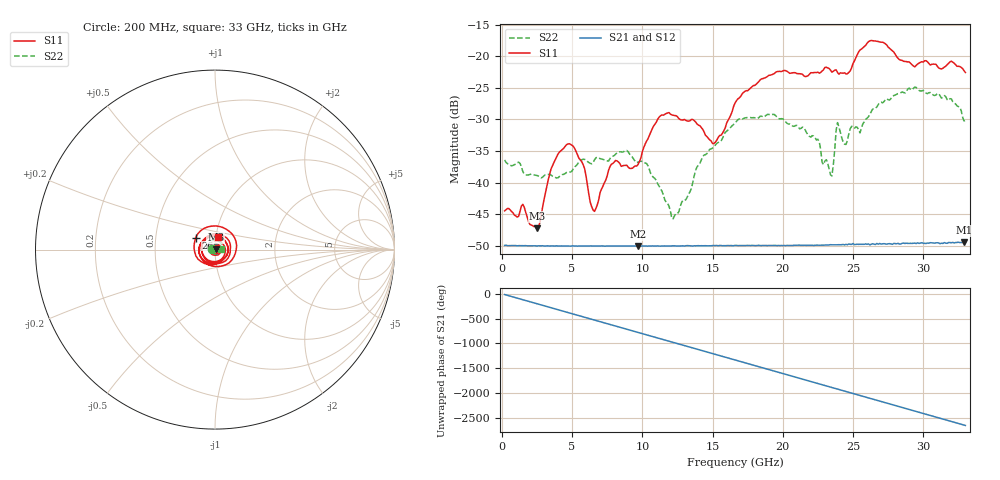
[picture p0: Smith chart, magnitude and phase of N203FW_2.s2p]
# GHZ S RI R 50
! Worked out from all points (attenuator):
!   329 points, 200 MHz to 33 GHz, reference 50 ohm
!   highest |S21| = -49.44 dB at 32.9 GHz (marker M1); lowest = -50.1 dB at 9.7 GHz (marker M2)
!   lowest |S11| = -47.2 dB at 2.5 GHz (marker M3), VSWR 1.01, Z = 50.4 + j0.236 ohm
!   |S11| at or under -10 dB: start of sweep to end of sweep
!   |S22| runs from -45.7 to -24.9 dB; largest |S21 - S12| = 8.8e-05
!   S11 on the Smith chart (normalised r, x): 200 MHz: 1.01, +0.00; 26 GHz: 0.80, +0.11; 33 GHz: 1.03, +0.15
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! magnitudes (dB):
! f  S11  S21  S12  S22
! 200 MHz  -44.5  -50.0  -49.9  -36.4
! 1.5 GHz  -43.5  -50.0  -50.0  -38.3
! 2.5 GHz  -47.2  -50.1  -50.0  -38.9
! 4 GHz  -35.5  -50.0  -50.0  -39.3
! 5.7 GHz  -36.8  -50.1  -50.0  -36.4
! 6.6 GHz  -44.6  -50.1  -50.0  -36.4
! 7.8 GHz  -37.1  -50.1  -50.1  -35.9
! 9.7 GHz  -37.1  -50.1  -50.1  -36.8
! 11.2 GHz  -29.7  -50.1  -50.0  -40.6
! 12.2 GHz  -29.3  -50.0  -50.0  -45.7
! 15.1 GHz  -33.8  -50.0  -50.0  -34.3
! 16.6 GHz  -27.4  -50.0  -50.0  -30.6
! 19.5 GHz  -22.5  -50.0  -49.9  -29.4
! 22.1 GHz  -22.6  -49.9  -49.9  -32.6
! 23.5 GHz  -22.5  -49.9  -49.8  -39.0
! 23.9 GHz  -22.6  -49.9  -49.9  -30.5
! 24.5 GHz  -22.8  -49.8  -49.8  -34.0
! 26 GHz  -17.9  -49.8  -49.7  -29.8
! 27.6 GHz  -18.8  -49.7  -49.7  -27.0
! 31.1 GHz  -21.9  -49.6  -49.4  -25.9
! 32.9 GHz  -22.3  -49.4  -49.4  -30.3
! 33 GHz  -22.6  -49.4  -49.5  -30.2
